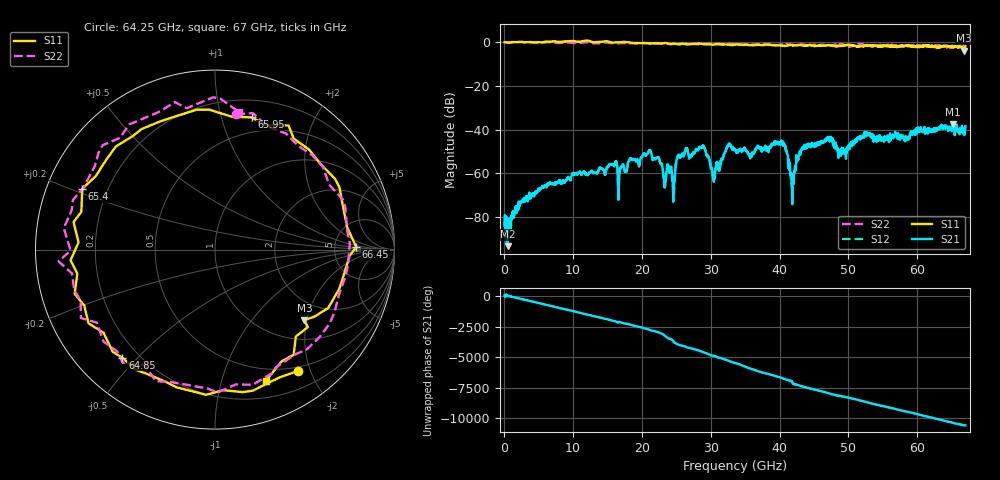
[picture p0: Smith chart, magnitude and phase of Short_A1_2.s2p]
#  HZ  S  MA  R  50.00
! Rohde & Schwarz ZVA67 4Ports - Version 4.11 - 1305.7002k04 SN: 101051
! Date: 2023-05-31 11:10:17
! Measurements: S11 S21 S12 S22
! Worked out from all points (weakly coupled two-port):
!   1340 points, 50 MHz to 67 GHz, reference 50 ohm
!   highest |S21| = -37.57 dB at 65.15 GHz (marker M1); lowest = -93.2 dB at 500 MHz (marker M2)
!   lowest |S11| = -3.9 dB at 66.75 GHz (marker M3), VSWR 4.47, Z = 73.5 - j96.8 ohm
!   |S11| at or under -10 dB: nowhere
!   |S22| runs from -2.7 to 0.0 dB; largest |S21 - S12| = 0.0045
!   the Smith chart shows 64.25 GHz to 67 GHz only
!   S11 on the Smith chart (normalised r, x): 64.25 GHz: 0.44, -1.81; 64.85 GHz: 0.14, -0.45; 65.4 GHz: 0.11, +0.22; 65.95 GHz: 0.35, +1.25; 66.45 GHz: 8.34, +0.63; 67 GHz: 0.36, -1.39
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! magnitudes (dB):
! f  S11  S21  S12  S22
! 50 MHz  -0.1  -84.0  -83.8  0.0
! 500 MHz  -0.3  -93.2  -83.4  -0.2
! 11.25 GHz  0.3  -60.0  -60.8  -0.3
! 22.4 GHz  -0.6  -52.6  -52.8  -0.8
! 24.5 GHz  -0.9  -64.8  -65.2  -0.8
! 26.4 GHz  -1.0  -48.3  -48.5  -0.6
! 28.95 GHz  -1.0  -47.5  -47.7  -1.1
! 30.4 GHz  -1.2  -63.0  -60.4  -0.8
! 33.55 GHz  -1.2  -49.5  -49.0  -1.0
! 40.4 GHz  -1.6  -45.4  -45.7  -1.2
! 41.85 GHz  -1.5  -74.1  -66.3  -1.3
! 43.15 GHz  -1.4  -49.3  -49.2  -1.2
! 44.7 GHz  -1.5  -46.0  -46.4  -1.4
! 55.85 GHz  -1.8  -45.1  -44.1  -1.3
! 64.25 GHz  -1.7  -38.3  -39.0  -2.4
! 64.85 GHz  -2.0  -39.2  -39.4  -2.6
! 65.15 GHz  -2.2  -37.6  -39.4  -2.4
! 65.4 GHz  -1.8  -37.6  -39.4  -2.4
! 65.95 GHz  -2.3  -39.9  -40.4  -1.5
! 66.45 GHz  -2.1  -40.8  -40.6  -1.8
! 66.75 GHz  -3.9  -41.0  -40.0  -1.6
! 67 GHz  -2.1  -38.4  -38.6  -2.2
